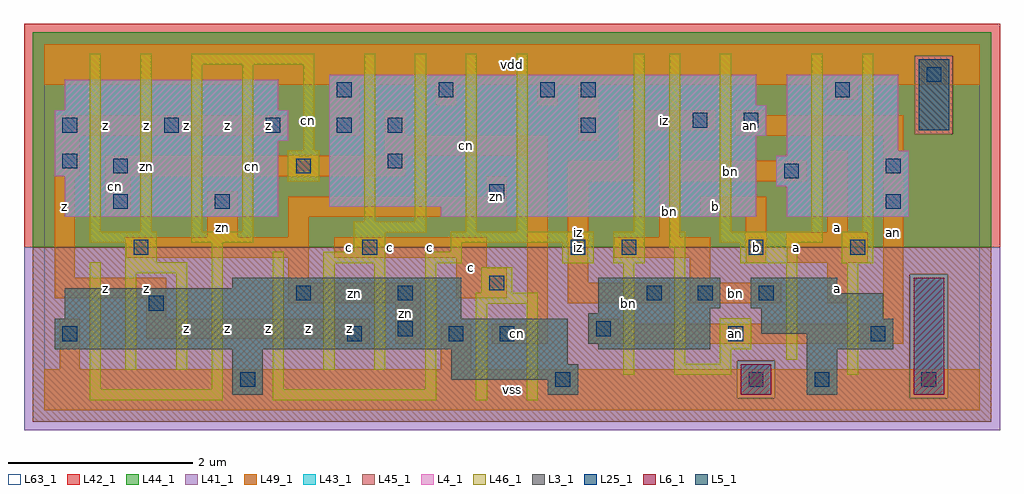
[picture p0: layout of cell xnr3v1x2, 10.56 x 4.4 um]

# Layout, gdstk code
import gdstk
lib = gdstk.Library(unit=1e-6, precision=1e-09)
def R(c, l, rs):  # rectangles x0, y0, x1, y1
    for r in rs: c.add(gdstk.rectangle(r[:2], r[2:], *l))
def A(c, l, x, y, w, h, nx, ny, dx, dy):  # array of equal rectangles
    R(c, l, [(x+i*dx, y+j*dy, x+i*dx+w, y+j*dy+h) for i in range(nx) for j in range(ny)])
L3_1 = (3, 1)
L4_1 = (4, 1)
L5_1 = (5, 1)
L6_1 = (6, 1)
L25_1 = (25, 1)
L41_1 = (41, 1)
L42_1 = (42, 1)
L43_1 = (43, 1)
L44_1 = (44, 1)
L45_1 = (45, 1)
L46_1 = (46, 1)
L49_1 = (49, 1)
L63_1 = (63, 1)

xnr3v1x2 = lib.new_cell('xnr3v1x2')
R(xnr3v1x2, L3_1, [(2.035,0.165,2.365,0.66), (5.445,0.165,5.775,0.33), (8.25,0.165,8.58,0.66), (4.4,0.33,5.775,0.495), (4.4,0.495,5.665,0.66), (0.11,0.66,5.665,0.99), (5.995,0.66,7.205,0.715), (8.25,0.66,9.185,0.825), (5.885,0.715,7.205,1.045), (7.755,0.825,9.185,0.99), (0.22,0.99,4.51,1.32), (7.755,0.99,9.075,1.1), (5.995,1.045,7.205,1.1), (5.995,1.1,7.315,1.43), (7.645,1.1,9.075,1.265), (7.645,1.265,8.58,1.43), (2.035,1.32,4.51,1.43)])
R(xnr3v1x2, L4_1, [(0.22,2.09,2.53,2.53), (4.29,2.09,7.7,2.2), (8.03,2.09,9.35,2.42), (3.08,2.2,7.7,2.97), (7.92,2.42,9.35,2.75), (0.11,2.53,2.53,2.915), (8.03,2.75,9.35,2.805), (8.03,2.805,9.24,3.63), (0.11,2.915,2.64,3.245), (3.08,2.97,7.81,3.3), (0.22,3.245,2.53,3.575), (3.08,3.3,7.7,3.63)])
R(xnr3v1x2, L5_1, [(9.46,3.025,9.79,3.795)])
R(xnr3v1x2, L6_1, [(7.535,0.165,7.865,0.495), (9.405,0.165,9.735,1.43)])
A(xnr3v1x2, L25_1, 0.195, 3, 0.16, 0.16, 3, 1, 1.1, 0)
A(xnr3v1x2, L25_1, 3.165, 3.385, 0.16, 0.16, 3, 1, 1.1, 0)
R(xnr3v1x2, L25_1, [(2.12,0.25,2.28,0.41), (5.53,0.25,5.69,0.41), (7.62,0.25,7.78,0.41), (8.335,0.25,8.495,0.41), (9.49,0.25,9.65,0.41), (0.195,0.745,0.355,0.905), (3.275,0.745,3.435,0.905), (4.375,0.745,4.535,0.905), (4.925,0.745,5.085,0.905), (7.4,0.745,7.56,0.905), (8.94,0.745,9.1,0.905), (3.825,0.8,3.985,0.96), (5.97,0.8,6.13,0.96), (1.13,1.075,1.29,1.235), (2.725,1.185,2.885,1.345), (3.825,1.185,3.985,1.345), (6.52,1.185,6.68,1.345), (7.07,1.185,7.23,1.345), (7.73,1.185,7.89,1.345), (4.815,1.295,4.975,1.455), (0.965,1.68,1.125,1.84), (3.44,1.68,3.6,1.84), (5.695,1.68,5.855,1.84), (6.245,1.68,6.405,1.84), (7.62,1.68,7.78,1.84), (8.72,1.68,8.88,1.84), (0.745,2.175,0.905,2.335), (1.845,2.175,2.005,2.335), (9.105,2.175,9.265,2.335), (4.815,2.285,4.975,2.445), (8.005,2.505,8.165,2.665), (0.745,2.56,0.905,2.72), (2.725,2.56,2.885,2.72), (9.105,2.56,9.265,2.72), (0.195,2.615,0.355,2.775), (3.715,2.615,3.875,2.775), (3.165,3,3.325,3.16), (3.715,3,3.875,3.16), (5.805,3,5.965,3.16), (7.015,3.055,7.175,3.215), (7.565,3.055,7.725,3.215), (5.805,3.385,5.965,3.545), (8.555,3.385,8.715,3.545), (9.545,3.55,9.705,3.71)])
R(xnr3v1x2, L41_1, [(-0.22,-0.22,10.34,1.76)])
R(xnr3v1x2, L42_1, [(-0.22,1.76,10.34,4.18)])
R(xnr3v1x2, L43_1, [(2.035,0.165,2.365,0.66), (5.445,0.165,5.775,0.33), (7.535,0.165,7.865,0.495), (8.25,0.165,8.58,0.66), (9.405,0.165,9.735,1.43), (4.4,0.33,5.775,0.495), (4.4,0.495,5.665,0.66), (0.11,0.66,5.665,0.99), (5.995,0.66,7.205,0.715), (8.25,0.66,9.185,0.825), (5.885,0.715,7.205,1.045), (7.755,0.825,9.185,0.99), (0.22,0.99,4.51,1.32), (7.755,0.99,9.075,1.1), (5.995,1.045,7.205,1.1), (5.995,1.1,7.315,1.43), (7.645,1.1,9.075,1.265), (7.645,1.265,8.58,1.43), (2.035,1.32,4.51,1.43), (0.22,2.09,2.53,2.53), (4.29,2.09,7.7,2.2), (8.03,2.09,9.35,2.42), (3.08,2.2,7.7,2.97), (7.92,2.42,9.35,2.75), (0.11,2.53,2.53,2.915), (8.03,2.75,9.35,2.805), (8.03,2.805,9.24,3.63), (0.11,2.915,2.64,3.245), (3.08,2.97,7.81,3.3), (9.46,3.025,9.79,3.795), (0.22,3.245,2.53,3.575), (3.08,3.3,7.7,3.63)])
R(xnr3v1x2, L44_1, [(7.495,0.125,7.905,0.535), (9.365,0.125,9.775,1.47), (-0.125,1.76,10.245,2.985), (-0.125,2.985,9.42,3.835), (9.83,2.985,10.245,3.835), (-0.125,3.835,10.245,4.085)])
R(xnr3v1x2, L45_1, [(-0.125,-0.125,10.245,0.125), (-0.125,0.125,7.495,0.535), (7.905,0.125,9.365,0.535), (9.775,0.125,10.245,1.47), (-0.125,0.535,9.365,1.47), (-0.125,1.47,10.245,1.76), (9.42,2.985,9.83,3.835)])
R(xnr3v1x2, L46_1, [(0.49,0.105,1.93,0.225), (2.47,0.105,4.24,0.225), (4.67,0.105,4.79,1.15), (5.22,0.105,5.34,1.15), (0.49,0.225,0.61,1.6), (1.81,0.225,1.93,1.81), (2.47,0.225,2.59,1.71), (4.12,0.225,4.24,1.59), (6.265,0.38,6.385,1.59), (6.815,0.38,7.43,0.5), (8.685,0.38,8.805,1.59), (0.875,0.435,0.995,1.48), (1.425,0.435,1.545,1.48), (3.02,0.435,3.14,1.59), (3.57,0.435,3.69,1.59), (6.815,0.5,6.935,1.755), (7.31,0.5,7.43,0.655), (8.025,0.545,8.145,1.59), (7.31,0.655,7.65,0.995), (4.67,1.15,5.34,1.27), (4.725,1.27,5.065,1.545), (0.875,1.48,1.545,1.6), (3.02,1.59,3.69,1.71), (4.12,1.59,4.515,1.71), (5.605,1.59,5.945,1.81), (6.155,1.59,6.495,1.93), (7.53,1.59,8.145,1.81), (8.63,1.59,8.97,1.93), (0.875,1.6,1.215,1.81), (3.35,1.71,3.69,1.92), (4.395,1.71,4.515,1.81), (6.76,1.755,6.935,1.93), (0.49,1.81,1.215,1.93), (1.59,1.81,2.26,1.93), (4.395,1.81,5.945,1.93), (7.31,1.81,8.42,1.93), (3.35,1.92,4.13,2.04), (0.49,1.93,0.61,3.855), (1.04,1.93,1.16,3.855), (1.59,1.93,1.71,3.735), (2.14,1.93,2.26,3.735), (4.56,1.93,4.68,3.855), (5.11,1.93,5.23,3.855), (6.375,1.93,6.495,3.855), (6.76,1.93,6.88,3.855), (7.31,1.93,7.43,3.855), (8.3,1.93,8.42,3.855), (8.85,1.93,8.97,3.855), (3.46,2.04,3.58,3.855), (4.01,2.04,4.13,3.855), (2.635,2.47,2.975,2.81), (2.8,2.81,2.92,3.735), (1.59,3.735,2.92,3.855)])
R(xnr3v1x2, L49_1, [(0,0,10.12,0.44), (0.165,0.44,0.385,0.99), (4.29,0.44,4.62,0.935), (3.19,0.715,3.52,0.77), (3.795,0.715,4.07,1.155), (4.84,0.715,5.445,0.935), (5.885,0.715,9.295,0.935), (1.1,0.77,3.52,0.99), (5.225,0.935,5.445,2.75), (5.885,0.935,6.215,0.99), (9.075,0.935,9.295,2.97), (1.1,0.99,1.32,1.21), (2.64,1.155,4.07,1.375), (5.665,1.155,6.765,1.375), (6.985,1.155,7.975,1.375), (8.47,1.155,8.69,1.595), (0.11,1.21,1.32,1.43), (4.455,1.21,5.005,1.54), (2.64,1.375,2.86,1.65), (5.665,1.375,5.885,2.475), (6.985,1.375,7.205,1.65), (0.11,1.43,0.33,2.53), (4.455,1.54,4.785,1.65), (7.59,1.595,7.81,2.09), (8.03,1.595,8.91,1.925), (0.88,1.65,2.86,1.87), (3.135,1.65,4.785,1.87), (6.16,1.65,7.205,1.87), (1.76,1.87,2.09,2.365), (2.64,1.87,2.86,2.09), (6.655,1.87,6.875,2.475), (8.47,1.925,8.69,2.805), (0.66,2.09,0.935,2.53), (2.64,2.09,5.005,2.31), (7.095,2.09,7.81,2.31), (4.785,2.31,5.005,2.53), (5.665,2.475,6.435,2.695), (6.655,2.475,8.25,2.695), (0.11,2.53,0.385,2.97), (0.66,2.53,3.905,2.75), (6.215,2.695,6.435,3.025), (3.685,2.75,5.445,2.97), (5.775,2.915,5.995,3.52), (0.11,2.97,2.64,3.19), (3.08,2.97,3.41,3.52), (3.685,2.97,3.905,3.245), (7.48,2.97,9.295,3.19), (6.215,3.025,7.26,3.245), (7.48,3.19,7.81,3.245), (4.235,3.3,4.455,3.52), (5.335,3.3,5.555,3.52), (8.47,3.355,8.8,3.52), (0,3.52,10.12,3.96)])
R(xnr3v1x2, L63_1, [(0,0,10.12,3.96)])
xnr3v1x2.add(gdstk.Label('zn', (1.1,2.64), layer=46, texttype=1))
xnr3v1x2.add(gdstk.Label('cn', (2.86,3.135), layer=46, texttype=1))
xnr3v1x2.add(gdstk.Label('bn', (6.325,1.155), layer=46, texttype=1))
xnr3v1x2.add(gdstk.Label('iz', (5.775,1.76), layer=49, texttype=1))
xnr3v1x2.add(gdstk.Label('an', (7.48,0.825), layer=49, texttype=1))
xnr3v1x2.add(gdstk.Label('z', (1.54,0.88), layer=49, texttype=1))
xnr3v1x2.add(gdstk.Label('z', (1.1,1.32), layer=49, texttype=1))
xnr3v1x2.add(gdstk.Label('z', (0.66,1.32), layer=49, texttype=1))
xnr3v1x2.add(gdstk.Label('z', (0.22,2.2), layer=49, texttype=1))
xnr3v1x2.add(gdstk.Label('cn', (0.77,2.42), layer=49, texttype=1))
xnr3v1x2.add(gdstk.Label('z', (1.54,3.08), layer=49, texttype=1))
xnr3v1x2.add(gdstk.Label('z', (1.1,3.08), layer=49, texttype=1))
xnr3v1x2.add(gdstk.Label('z', (0.66,3.08), layer=49, texttype=1))
xnr3v1x2.add(gdstk.Label('z', (3.3,0.88), layer=49, texttype=1))
xnr3v1x2.add(gdstk.Label('z', (2.86,0.88), layer=49, texttype=1))
xnr3v1x2.add(gdstk.Label('z', (2.42,0.88), layer=49, texttype=1))
xnr3v1x2.add(gdstk.Label('z', (1.98,0.88), layer=49, texttype=1))
xnr3v1x2.add(gdstk.Label('c', (3.74,1.76), layer=49, texttype=1))
xnr3v1x2.add(gdstk.Label('c', (3.3,1.76), layer=49, texttype=1))
xnr3v1x2.add(gdstk.Label('zn', (1.925,1.98), layer=49, texttype=1))
xnr3v1x2.add(gdstk.Label('cn', (2.255,2.64), layer=49, texttype=1))
xnr3v1x2.add(gdstk.Label('z', (2.42,3.08), layer=49, texttype=1))
xnr3v1x2.add(gdstk.Label('z', (1.98,3.08), layer=49, texttype=1))
xnr3v1x2.add(gdstk.Label('vss', (5.06,0.22), layer=49, texttype=1))
xnr3v1x2.add(gdstk.Label('cn', (5.115,0.825), layer=49, texttype=1))
xnr3v1x2.add(gdstk.Label('zn', (3.905,1.045), layer=49, texttype=1))
xnr3v1x2.add(gdstk.Label('zn', (3.355,1.265), layer=49, texttype=1))
xnr3v1x2.add(gdstk.Label('c', (4.62,1.54), layer=49, texttype=1))
xnr3v1x2.add(gdstk.Label('c', (4.18,1.76), layer=49, texttype=1))
xnr3v1x2.add(gdstk.Label('zn', (4.895,2.31), layer=49, texttype=1))
xnr3v1x2.add(gdstk.Label('iz', (5.775,1.925), layer=49, texttype=1))
xnr3v1x2.add(gdstk.Label('cn', (4.565,2.86), layer=49, texttype=1))
xnr3v1x2.add(gdstk.Label('vdd', (5.06,3.74), layer=49, texttype=1))
xnr3v1x2.add(gdstk.Label('iz', (6.215,1.265), layer=49, texttype=1))
xnr3v1x2.add(gdstk.Label('bn', (7.48,1.265), layer=49, texttype=1))
xnr3v1x2.add(gdstk.Label('b', (7.7,1.76), layer=49, texttype=1))
xnr3v1x2.add(gdstk.Label('b', (7.26,2.2), layer=49, texttype=1))
xnr3v1x2.add(gdstk.Label('bn', (6.765,2.145), layer=49, texttype=1))
xnr3v1x2.add(gdstk.Label('an', (7.645,3.08), layer=49, texttype=1))
xnr3v1x2.add(gdstk.Label('iz', (6.71,3.135), layer=49, texttype=1))
xnr3v1x2.add(gdstk.Label('an', (7.59,0.825), layer=49, texttype=1))
xnr3v1x2.add(gdstk.Label('a', (8.58,1.32), layer=49, texttype=1))
xnr3v1x2.add(gdstk.Label('a', (8.14,1.76), layer=49, texttype=1))
xnr3v1x2.add(gdstk.Label('a', (8.58,1.98), layer=49, texttype=1))
xnr3v1x2.add(gdstk.Label('bn', (7.425,2.585), layer=49, texttype=1))
xnr3v1x2.add(gdstk.Label('an', (9.185,1.925), layer=49, texttype=1))

lib.write_gds('xnr3v1x2.gds')
